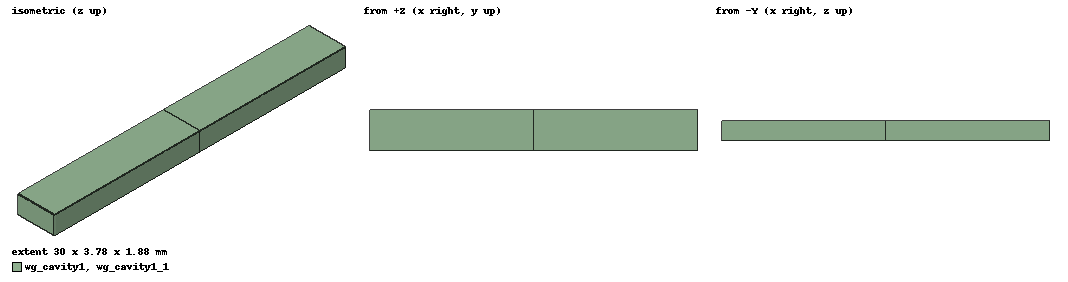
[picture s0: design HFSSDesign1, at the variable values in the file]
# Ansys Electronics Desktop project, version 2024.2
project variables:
  $eps_r1 = 5
  $eps_r2 = 10
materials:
  vacuum: permittivity=1
  Taconic RF-60 (tm): permittivity=6.15 dielectric_loss_tangent=0.0028
  my_1_FR4_epoxy: permittivity=$eps_r1 dielectric_loss_tangent=0.02
  my_2_FR4_epoxy: permittivity=$eps_r2 dielectric_loss_tangent=0.02

design HFSSDesign1 (HFSS, HFSS Modal Network, model units mm)
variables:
  length = 15mm
  width = 3.78mm
  height = 1.88mm
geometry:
  wg_cavity1 [my_1_FR4_epoxy] = box(corner=(0mm, 0mm, 0mm), size=(length, width, height))
  wg_cavity1_1 [my_2_FR4_epoxy] = wg_cavity1.duplicate_along_line(step=(15mm, 0mm, 0mm), total=2)
  coordinate_system RelativeCS1 = origin=(15mm, 1.89mm, 0.94mm) x=(1mm, 0mm, 0mm) y=(0mm, 1mm, 0mm)
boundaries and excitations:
  2: Wave Port Faces=wg_cavity1_1.face(at (30, 1.89, 0.94)) WavePortType=Default NumModes=1 Modes{Mode1{CharImp=Zpi}}
  1: Wave Port Faces=wg_cavity1.face(-x) WavePortType=Default NumModes=1 Modes{Mode1{CharImp=Zpi}}
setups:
  Setup1: HfssDriven Frequency=30GHz MaxDeltaS=0.02 MaximumPasses=6 MinimumPasses=1 MinimumConvergedPasses=1 PercentRefinement=30 BasisOrder=1 PortAccuracy=2 DrivenSolverType="Direct Solver"
    sweep Sweep: 15GHz to 45GHz, 10 points; Type=Discrete SaveFields
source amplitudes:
  2:1: 1W 0deg
  1:1: 0W 0deg
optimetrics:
  ParametricSetup1: Parametric Sim._Setups=[Setup1]
    sweep $eps_r1: LIN 5 10 5
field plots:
  Mag_E1: E Field in wg_cavity1, wg_cavity1_1 on Setup1 : LastAdaptive at Freq=30GHz Phase=0deg
